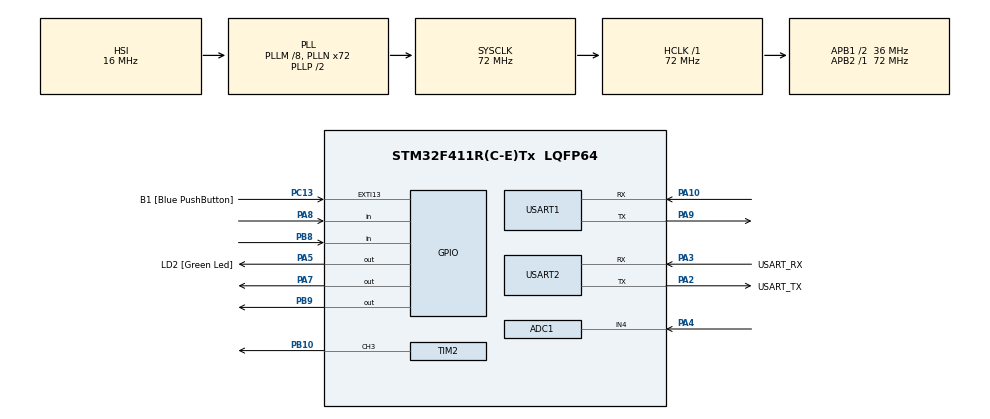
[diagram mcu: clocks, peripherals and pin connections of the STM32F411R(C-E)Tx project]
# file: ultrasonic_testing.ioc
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ADC1.Channel-0\#ChannelRegularConversion=ADC_CHANNEL_4
ADC1.NbrOfConversionFlag=1
ADC1.Rank-0\#ChannelRegularConversion=1
ADC1.SamplingTime-0\#ChannelRegularConversion=ADC_SAMPLETIME_3CYCLES
ADC1.master=1
Mcu.Family=STM32F4
Mcu.Name=STM32F411R(C-E)Tx
Mcu.Package=LQFP64
NVIC.ADC_IRQn=true\:0\:0\:false\:false\:true\:true\:true\:true
NVIC.PriorityGroup=NVIC_PRIORITYGROUP_0
PA10.Mode=Asynchronous
PA10.Signal=USART1_RX
PA13.GPIO_Label=TMS
PA13.Mode=Serial_Wire
PA13.Signal=SYS_JTMS-SWDIO
PA14.GPIO_Label=TCK
PA14.Mode=Serial_Wire
PA14.Signal=SYS_JTCK-SWCLK
PA2.GPIO_Label=USART_TX
PA2.Mode=Asynchronous
PA2.Signal=USART2_TX
PA3.GPIO_Label=USART_RX
PA3.Mode=Asynchronous
PA3.Signal=USART2_RX
PA4.Signal=ADCx_IN4
PA5.GPIO_Label=LD2 [Green Led]
PA5.Signal=GPIO_Output
PA7.Signal=GPIO_Output
PA8.GPIO_PuPd=GPIO_NOPULL
PA8.Signal=GPIO_Input
PA9.Mode=Asynchronous
PA9.Signal=USART1_TX
PB10.Signal=S_TIM2_CH3
PB3.GPIO_Label=SWO
PB3.Signal=SYS_JTDO-SWO
PB8.Signal=GPIO_Input
PB9.Signal=GPIO_Output
PC13-ANTI_TAMP.GPIO_Label=B1 [Blue PushButton]
PC13-ANTI_TAMP.GPIO_ModeDefaultEXTI=GPIO_MODE_IT_FALLING
PC13-ANTI_TAMP.Signal=GPXTI13
PC14-OSC32_IN.Mode=LSE-External-Oscillator
PC14-OSC32_IN.Signal=RCC_OSC32_IN
PC15-OSC32_OUT.Mode=LSE-External-Oscillator
PC15-OSC32_OUT.Signal=RCC_OSC32_OUT
PH0\ -\ OSC_IN.Mode=HSE-External-Clock-Source
PH0\ -\ OSC_IN.Signal=RCC_OSC_IN
PH1\ -\ OSC_OUT.Mode=HSE-External-Clock-Source
PH1\ -\ OSC_OUT.Signal=RCC_OSC_OUT
ProjectManager.HeapSize=0x200
ProjectManager.StackSize=0x400
ProjectManager.TargetToolchain=STM32CubeIDE
RCC.48MHZClocksFreq_Value=36000000
RCC.AHBFreq_Value=72000000
RCC.APB1CLKDivider=RCC_HCLK_DIV2
RCC.APB1Freq_Value=36000000
RCC.APB1TimFreq_Value=72000000
RCC.APB2Freq_Value=72000000
RCC.APB2TimFreq_Value=72000000
RCC.CortexFreq_Value=72000000
RCC.FLatency-AdvancedSettings=FLASH_LATENCY_2
RCC.HCLKFreq_Value=72000000
RCC.HSE_VALUE=8000000
RCC.HSI_VALUE=16000000
RCC.PLLM=8
RCC.PLLN=72
RCC.SYSCLKFreq_VALUE=72000000
RCC.SYSCLKSource=RCC_SYSCLKSOURCE_PLLCLK
RCC.VCOOutputFreq_Value=144000000
SH.ADCx_IN4.0=ADC1_IN4,IN4
SH.S_TIM2_CH3.0=TIM2_CH3,PWM Generation3 CH3
TIM1.Period=65535
TIM1.Prescaler=71
TIM2.Channel-PWM\ Generation3\ CH3=TIM_CHANNEL_3
TIM2.Period=65535
TIM2.Prescaler=71
USART1.VirtualMode=VM_ASYNC
USART2.VirtualMode=VM_ASYNC
VP_TIM1_VS_ClockSourceINT.Mode=Internal
board=NUCLEO-F411RE

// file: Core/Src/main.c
/* USER CODE BEGIN Header */
/**
  ******************************************************************************
  * @file           : main.c
  * @brief          : Main program body
  ******************************************************************************
  * @attention
  *
  * Copyright (c) 2025 STMicroelectronics.
  * All rights reserved.
  *
  * This software is licensed under terms that can be found in the LICENSE file
  * in the root directory of this software component.
  * If no LICENSE file comes with this software, it is provided AS-IS.
  *
  ******************************************************************************
  */
/* USER CODE END Header */
#include "main.h"

/* USER CODE BEGIN PD */
#define TRIG_PIN GPIO_PIN_7
#define ECHO_PIN GPIO_PIN_8
#define LED_PIN GPIO_PIN_5

#define DT_PIN GPIO_PIN_8
#define DT_PORT GPIOB
#define SCK_PIN GPIO_PIN_9
#define SCK_PORT GPIOB

#define SENSOR_GPIO_PORT    GPIOA
#define SENSOR_GPIO_PIN     GPIO_PIN_4
#define ADC_CHANNEL_TO_READ ADC_CHANNEL_4

#define ADC_MIN_LEVEL 3000
#define ADC_MAX_LEVEL 4000

#define SERVO_OPEN_ANGLE 180
#define SERVO_CLOSE_ANGLE 0
uint8_t isOpen = 0;
uint32_t openTime;

extern TIM_HandleTypeDef htim1;  // TIM1 handle created by CubeMX
extern TIM_HandleTypeDef htim2;  // TIM1 handle created by CubeMX

// Map angle (0–180) to pulse width (1000–2000 us)
void Servo_Write(uint8_t angle)
{
    if (angle > 180) angle = 180;

    uint16_t pulse = 1000 + (angle * 1000 / 180);  // 1000–2000 us
    __HAL_TIM_SET_COMPARE(&htim2, TIM_CHANNEL_3, pulse);
}

/* USER CODE END PD */

ADC_HandleTypeDef hadc1;

TIM_HandleTypeDef htim1;
TIM_HandleTypeDef htim2;

UART_HandleTypeDef huart1;
UART_HandleTypeDef huart2;

/* USER CODE BEGIN PV */
uint32_t duration = 0;
uint32_t distance = 0;
char uartBuf[50];

float calibration_factor = 1098.3f;

int32_t tare = 0;
float knownOriginal = 1;
float knownHX711 = 1;
int weight;
int percent_level;
uint8_t rx_byte;
uint8_t feed_trigger;
/* USER CODE END PV */

void SystemClock_Config(void);
static void MX_GPIO_Init(void);
static void MX_USART2_UART_Init(void);
static void MX_TIM1_Init(void);
static void MX_ADC1_Init(void);
static void MX_TIM2_Init(void);
static void MX_USART1_UART_Init(void);

/* USER CODE BEGIN 0 */
void delay_us(uint16_t us){
	__HAL_TIM_SET_COUNTER(&htim1, 0);
	while (__HAL_TIM_GET_COUNTER(&htim1) < us);
}

int32_t getHX711(void){
	uint32_t data = 0;
	uint32_t startTime = HAL_GetTick();
	while(HAL_GPIO_ReadPin(DT_PORT,DT_PIN) == GPIO_PIN_SET){
		if(HAL_GetTick() - startTime > 200){
			return 0;
		}
	}
	for(int8_t len = 0; len < 24; len++){
		HAL_GPIO_WritePin(SCK_PORT, SCK_PIN,GPIO_PIN_SET);
		delay_us(1);
		data = data << 1;
		HAL_GPIO_WritePin(SCK_PORT, SCK_PIN,GPIO_PIN_RESET);
		delay_us(1);
		if(HAL_GPIO_ReadPin(DT_PORT, DT_PIN) == GPIO_PIN_SET){
			data++;
		}
	}
	HAL_GPIO_WritePin(SCK_PORT,SCK_PIN,GPIO_PIN_SET);
	delay_us(1);
	HAL_GPIO_WritePin(SCK_PORT,SCK_PIN,GPIO_PIN_RESET);
	delay_us(1);

	if (data & 0x800000) {
	      data |= 0xFF000000;
	  }

	return (int32_t)data;
}

void calibrate_tare(void) {
    int32_t total = 0;
    // Take 10 readings
    for(int i = 0; i < 10; i++) {
        total += getHX711();
        HAL_Delay(10);
    }
    // Set the average as the new "Zero" point
    tare = total / 10;
}

int weigh(){
	int32_t total = 0;
	int32_t samples = 10;
	float coefficient;
	for(uint16_t i =0; i<samples; i++){
		total += getHX711();
	}
	int32_t average = total / samples;
	coefficient = knownOriginal / knownHX711;

	int32_t raw_diff = (int32_t)average - (int32_t)tare;

	if (raw_diff < 0) {
	        return 0;
	}

	float grams = (average - tare) / calibration_factor;

	return (int)grams;
}

int Water_Level(uint16_t value) {
    char tx_buffer[50]; // Increased buffer size for safety
    int len;
    int32_t current_adc = (int32_t)value; // Use signed integer for subtraction safety
    int32_t percent_level;

    // 1. Calculate the total range (P = V_max - V_min)
    const int32_t total_range = ADC_MAX_LEVEL - ADC_MIN_LEVEL;

    // Safety check to prevent division by zero and ensure a valid range
    if (total_range <= 0) {
        // If range is invalid, just report 0% or an error
        percent_level = 0;
    } else {
        // 2. Calculate the difference from the minimum (V_current - V_min)
        int32_t numerator = current_adc - ADC_MIN_LEVEL;

        // 3. Clamp the numerator (ensure value is not below V_min or above V_max)
        if (numerator < 0) {
            numerator = 0; // Below V_min means 0%
        } else if (numerator > total_range) {
            numerator = total_range; // Above V_max means 100%
        }

        // 4. Calculate Percentage: (Numerator / Total_Range) * 100
        // We use integer math for this simple function: (N * 100) / D
        percent_level = (numerator * 100) / total_range;
    }

    // Use snprintf to format the data into a string
    len = snprintf(tx_buffer, sizeof(tx_buffer), "Level: %ld percent\r\n", percent_level);

    // Transmit the string
//    HAL_UART_Transmit(&huart2, (uint8_t*)tx_buffer, len, 1000);
    return (int) percent_level;
}

int loop_adc_read(void) {
    uint32_t total_reading = 0;
    const uint8_t num_samples = 10; // Take 10 samples

    for (int i = 0; i < num_samples; i++) {
        // 1. Start ADC Conversion
        HAL_ADC_Start(&hadc1);

        // 2. Wait for the conversion to complete
        if (HAL_ADC_PollForConversion(&hadc1, 100) == HAL_OK) {
            // 3. Get the digital value
            total_reading += HAL_ADC_GetValue(&hadc1);
        }
        // Small delay between samples is optional but can help
        HAL_Delay(5);
    }

    // Calculate the average
    uint16_t average_reading = (uint16_t)(total_reading / num_samples);

    // 4. Send the calculated percentage value
    int32_t percent_level = Water_Level(average_reading);

    return (int) percent_level;
    // 5. Short delay before the next set of readings
    // The total delay here is already (5ms * 10 samples) + 100ms = 150ms.
    // HAL_Delay(100); // Removing the extra delay as the loop already has a delay.
}

void Run_Manual_Feed(void){
  if(isOpen == 0){
	  Servo_Write(SERVO_OPEN_ANGLE);
	  openTime = HAL_GetTick();
	  char log[50];
	  int len = snprintf(log, sizeof(log),"m\r\n");
	  HAL_UART_Transmit(&huart2, (uint8_t*)log, (uint16_t)len, 1000);
	  HAL_UART_Transmit(&huart1, (uint8_t*)log, (uint16_t)len, 1000);
	  isOpen = 1;
  }
  else{
	  if(HAL_GetTick() - openTime > 200){
		  Servo_Write(SERVO_CLOSE_ANGLE);
		  isOpen = 0;
	  }
  }
}
/* USER CODE END 0 */

int main(void)
{

  /* MCU Configuration--------------------------------------------------------*/

  /* Reset of all peripherals, Initializes the Flash interface and the Systick. */
  HAL_Init();

  /* Configure the system clock */
  SystemClock_Config();

  /* Initialize all configured peripherals */
  MX_GPIO_Init();
  MX_USART2_UART_Init();
  MX_TIM1_Init();
  MX_ADC1_Init();
  MX_TIM2_Init();
  MX_USART1_UART_Init();
  /* USER CODE BEGIN 2 */
  HAL_TIM_Base_Start(&htim1);
  HAL_TIM_PWM_Start(&htim2, TIM_CHANNEL_3);
  Servo_Write(SERVO_CLOSE_ANGLE);

  HAL_GPIO_WritePin(SCK_PORT, SCK_PIN, GPIO_PIN_SET);
  HAL_Delay(10);
  HAL_GPIO_WritePin(SCK_PORT, SCK_PIN, GPIO_PIN_RESET);
  HAL_Delay(10);

  HAL_Delay(500);
  calibrate_tare();
  HAL_UART_Receive_IT(&huart1,&rx_byte,1);

  /* USER CODE END 2 */

  /* Infinite loop */
  while (1)
  {

    /* USER CODE BEGIN 3 */
	  HAL_GPIO_WritePin(GPIOA, TRIG_PIN, GPIO_PIN_RESET);
	  delay_us(2);
	  HAL_GPIO_WritePin(GPIOA, TRIG_PIN, GPIO_PIN_SET);
	  delay_us(10);
	  HAL_GPIO_WritePin(GPIOA, TRIG_PIN, GPIO_PIN_RESET);

//	  while (HAL_GPIO_ReadPin(GPIOA, ECHO_PIN) == GPIO_PIN_RESET);
//
//	  __HAL_TIM_SET_COUNTER(&htim1, 0);
//
//	  while (HAL_GPIO_ReadPin(GPIOA, ECHO_PIN) == GPIO_PIN_SET);
//
//	  duration = __HAL_TIM_GET_COUNTER(&htim1);
//
//	  distance = duration / 58;

	  uint32_t pMillis = HAL_GetTick(); // Get current time
	        uint8_t sensor_ok = 1;            // Flag to track if sensor is working

	        // WAIT FOR ECHO START (Timeout: 5ms)
	        // If the sensor is unplugged, this loop will break after 5ms
	        while (HAL_GPIO_ReadPin(GPIOA, ECHO_PIN) == GPIO_PIN_RESET) {
	            if (HAL_GetTick() - pMillis > 5) {
	                sensor_ok = 0;
	                break;
	            }
	        }

	        if (sensor_ok) {
	            __HAL_TIM_SET_COUNTER(&htim1, 0); // Reset Timer
	            pMillis = HAL_GetTick();          // Reset Timeout Counter

	            // WAIT FOR ECHO END (Timeout: 50ms - max range approx 8m)
	            while (HAL_GPIO_ReadPin(GPIOA, ECHO_PIN) == GPIO_PIN_SET) {
	                if (HAL_GetTick() - pMillis > 50) {
	                    sensor_ok = 0;
	                    break;
	                }
	            }
	        }

	        if (sensor_ok) {
	            duration = __HAL_TIM_GET_COUNTER(&htim1);
	            distance = duration / 58;
	        } else {
	            // If unplugged or error, set distance to 0 (or a safe value like 999)
	            distance = 0;
	        }

//	  if (distance <= 40) {
//		  HAL_GPIO_WritePin(GPIOA, LED_PIN, GPIO_PIN_SET);
//		  sprintf(uartBuf, "Distance: %lu cm\r\n", distance);
//		  HAL_UART_Transmit(&huart2, (uint8_t*)uartBuf, strlen(uartBuf), 100);
//	  } else {
//		  HAL_GPIO_WritePin(GPIOA, LED_PIN, GPIO_PIN_RESET);
//	  }

	  weight = weigh();

	  //if(weight > 5){
//		  char buffer[50];
//
//		  sprintf(buffer, "Weight: %d grams\r\n", weight);
//
//		  HAL_UART_Transmit(&huart2, (uint8_t*)buffer, strlen(buffer),100);

	  //}

	  if((weight > 0 && weight < 20) && distance < 10){
		  if(isOpen == 0){
			  Servo_Write(SERVO_OPEN_ANGLE);
			  openTime = HAL_GetTick();
			  char log[50];
			  int len = snprintf(log, sizeof(log),"a\r\n");
			  HAL_UART_Transmit(&huart2, (uint8_t*)log, (uint16_t)len, 1000);
			  HAL_UART_Transmit(&huart1, (uint8_t*)log, (uint16_t)len, 1000);
			  isOpen = 1;
		  }
		  else{
			  if(HAL_GetTick() - openTime > 200){
				  Servo_Write(SERVO_CLOSE_ANGLE);
				  isOpen = 0;
			  }
		  }
	  }else if(isOpen == 1){
		  Servo_Write(SERVO_CLOSE_ANGLE);
		  isOpen = 0;
	  }

	  percent_level = loop_adc_read();

	  HAL_Delay(1000);
	  char combined_buffer[50];
	  int len = snprintf(combined_buffer, sizeof(combined_buffer),
						 "d:%d,%d,%d\r\n",
						 (int)distance,
						 (int)weight,
						 (int)percent_level);

	  HAL_UART_Transmit(&huart2, (uint8_t*)combined_buffer, (uint16_t)len, 1000);
	  HAL_UART_Transmit(&huart1, (uint8_t*)combined_buffer, (uint16_t)len, 1000);
	  if (feed_trigger == 1) {
		  Run_Manual_Feed(); // Call your function
		  feed_trigger = 0;  // Reset flag
	  }
//	  char test = 'T';
//	  int len = 10;
//	  HAL_UART_Transmit(&huart2, (uint8_t*)&test, (uint16_t)len, 1000);
//	  HAL_UART_Transmit(&huart1, (uint8_t*)&test, (uint16_t)len, 1000);
//	  HAL_Delay(1000);
//	  HAL_UART_Transmit(&huart2, (uint8_t*)distance, len, 1000);

  }
  /* USER CODE END 3 */
}

void SystemClock_Config(void)
{
  RCC_OscInitTypeDef RCC_OscInitStruct = {0};
  RCC_ClkInitTypeDef RCC_ClkInitStruct = {0};

  /** Configure the main internal regulator output voltage
  */
  __HAL_RCC_PWR_CLK_ENABLE();
  __HAL_PWR_VOLTAGESCALING_CONFIG(PWR_REGULATOR_VOLTAGE_SCALE1);

  /** Initializes the RCC Oscillators according to the specified parameters
  * in the RCC_OscInitTypeDef structure.
  */
  RCC_OscInitStruct.OscillatorType = RCC_OSCILLATORTYPE_HSI;
  RCC_OscInitStruct.HSIState = RCC_HSI_ON;
  RCC_OscInitStruct.HSICalibrationValue = RCC_HSICALIBRATION_DEFAULT;
  RCC_OscInitStruct.PLL.PLLState = RCC_PLL_ON;
  RCC_OscInitStruct.PLL.PLLSource = RCC_PLLSOURCE_HSI;
  RCC_OscInitStruct.PLL.PLLM = 8;
  RCC_OscInitStruct.PLL.PLLN = 72;
  RCC_OscInitStruct.PLL.PLLP = RCC_PLLP_DIV2;
  RCC_OscInitStruct.PLL.PLLQ = 4;
  if (HAL_RCC_OscConfig(&RCC_OscInitStruct) != HAL_OK)
  {
    Error_Handler();
  }

  /** Initializes the CPU, AHB and APB buses clocks
  */
  RCC_ClkInitStruct.ClockType = RCC_CLOCKTYPE_HCLK|RCC_CLOCKTYPE_SYSCLK
                              |RCC_CLOCKTYPE_PCLK1|RCC_CLOCKTYPE_PCLK2;
  RCC_ClkInitStruct.SYSCLKSource = RCC_SYSCLKSOURCE_PLLCLK;
  RCC_ClkInitStruct.AHBCLKDivider = RCC_SYSCLK_DIV1;
  RCC_ClkInitStruct.APB1CLKDivider = RCC_HCLK_DIV2;
  RCC_ClkInitStruct.APB2CLKDivider = RCC_HCLK_DIV1;

  if (HAL_RCC_ClockConfig(&RCC_ClkInitStruct, FLASH_LATENCY_2) != HAL_OK)
  {
    Error_Handler();
  }
}

static void MX_ADC1_Init(void)
{

  ADC_ChannelConfTypeDef sConfig = {0};

  /** Configure the global features of the ADC (Clock, Resolution, Data Alignment and number of conversion)
  */
  hadc1.Instance = ADC1;
  hadc1.Init.ClockPrescaler = ADC_CLOCK_SYNC_PCLK_DIV2;
  hadc1.Init.Resolution = ADC_RESOLUTION_12B;
  hadc1.Init.ScanConvMode = DISABLE;
  hadc1.Init.ContinuousConvMode = DISABLE;
  hadc1.Init.DiscontinuousConvMode = DISABLE;
  hadc1.Init.ExternalTrigConvEdge = ADC_EXTERNALTRIGCONVEDGE_NONE;
  hadc1.Init.ExternalTrigConv = ADC_SOFTWARE_START;
  hadc1.Init.DataAlign = ADC_DATAALIGN_RIGHT;
  hadc1.Init.NbrOfConversion = 1;
  hadc1.Init.DMAContinuousRequests = DISABLE;
  hadc1.Init.EOCSelection = ADC_EOC_SINGLE_CONV;
  if (HAL_ADC_Init(&hadc1) != HAL_OK)
  {
    Error_Handler();
  }

  /** Configure for the selected ADC regular channel its corresponding rank in the sequencer and its sample time.
  */
  sConfig.Channel = ADC_CHANNEL_4;
  sConfig.Rank = 1;
  sConfig.SamplingTime = ADC_SAMPLETIME_3CYCLES;
  if (HAL_ADC_ConfigChannel(&hadc1, &sConfig) != HAL_OK)
  {
    Error_Handler();
  }

}

static void MX_TIM1_Init(void)
{

  TIM_ClockConfigTypeDef sClockSourceConfig = {0};
  TIM_MasterConfigTypeDef sMasterConfig = {0};

  htim1.Instance = TIM1;
  htim1.Init.Prescaler = 71;
  htim1.Init.CounterMode = TIM_COUNTERMODE_UP;
  htim1.Init.Period = 65535;
  htim1.Init.ClockDivision = TIM_CLOCKDIVISION_DIV1;
  htim1.Init.RepetitionCounter = 0;
  htim1.Init.AutoReloadPreload = TIM_AUTORELOAD_PRELOAD_DISABLE;
  if (HAL_TIM_Base_Init(&htim1) != HAL_OK)
  {
    Error_Handler();
  }
  sClockSourceConfig.ClockSource = TIM_CLOCKSOURCE_INTERNAL;
  if (HAL_TIM_ConfigClockSource(&htim1, &sClockSourceConfig) != HAL_OK)
  {
    Error_Handler();
  }
  sMasterConfig.MasterOutputTrigger = TIM_TRGO_RESET;
  sMasterConfig.MasterSlaveMode = TIM_MASTERSLAVEMODE_DISABLE;
  if (HAL_TIMEx_MasterConfigSynchronization(&htim1, &sMasterConfig) != HAL_OK)
  {
    Error_Handler();
  }

}

static void MX_TIM2_Init(void)
{

  TIM_MasterConfigTypeDef sMasterConfig = {0};
  TIM_OC_InitTypeDef sConfigOC = {0};

  htim2.Instance = TIM2;
  htim2.Init.Prescaler = 71;
  htim2.Init.CounterMode = TIM_COUNTERMODE_UP;
  htim2.Init.Period = 65535;
  htim2.Init.ClockDivision = TIM_CLOCKDIVISION_DIV1;
  htim2.Init.AutoReloadPreload = TIM_AUTORELOAD_PRELOAD_DISABLE;
  if (HAL_TIM_PWM_Init(&htim2) != HAL_OK)
  {
    Error_Handler();
  }
  sMasterConfig.MasterOutputTrigger = TIM_TRGO_RESET;
  sMasterConfig.MasterSlaveMode = TIM_MASTERSLAVEMODE_DISABLE;
  if (HAL_TIMEx_MasterConfigSynchronization(&htim2, &sMasterConfig) != HAL_OK)
  {
    Error_Handler();
  }
  sConfigOC.OCMode = TIM_OCMODE_PWM1;
  sConfigOC.Pulse = 0;
  sConfigOC.OCPolarity = TIM_OCPOLARITY_HIGH;
  sConfigOC.OCFastMode = TIM_OCFAST_DISABLE;
  if (HAL_TIM_PWM_ConfigChannel(&htim2, &sConfigOC, TIM_CHANNEL_3) != HAL_OK)
  {
    Error_Handler();
  }
  HAL_TIM_MspPostInit(&htim2);

}

static void MX_USART1_UART_Init(void)
{

  huart1.Instance = USART1;
  huart1.Init.BaudRate = 115200;
  huart1.Init.WordLength = UART_WORDLENGTH_8B;
  huart1.Init.StopBits = UART_STOPBITS_1;
  huart1.Init.Parity = UART_PARITY_NONE;
  huart1.Init.Mode = UART_MODE_TX_RX;
  huart1.Init.HwFlowCtl = UART_HWCONTROL_NONE;
  huart1.Init.OverSampling = UART_OVERSAMPLING_16;
  if (HAL_UART_Init(&huart1) != HAL_OK)
  {
    Error_Handler();
  }

}

static void MX_USART2_UART_Init(void)
{

  huart2.Instance = USART2;
  huart2.Init.BaudRate = 115200;
  huart2.Init.WordLength = UART_WORDLENGTH_8B;
  huart2.Init.StopBits = UART_STOPBITS_1;
  huart2.Init.Parity = UART_PARITY_NONE;
  huart2.Init.Mode = UART_MODE_TX_RX;
  huart2.Init.HwFlowCtl = UART_HWCONTROL_NONE;
  huart2.Init.OverSampling = UART_OVERSAMPLING_16;
  if (HAL_UART_Init(&huart2) != HAL_OK)
  {
    Error_Handler();
  }

}

static void MX_GPIO_Init(void)
{
  GPIO_InitTypeDef GPIO_InitStruct = {0};

  /* GPIO Ports Clock Enable */
  __HAL_RCC_GPIOC_CLK_ENABLE();
  __HAL_RCC_GPIOH_CLK_ENABLE();
  __HAL_RCC_GPIOA_CLK_ENABLE();
  __HAL_RCC_GPIOB_CLK_ENABLE();

  /*Configure GPIO pin Output Level */
  HAL_GPIO_WritePin(GPIOA, LD2_Pin|GPIO_PIN_7, GPIO_PIN_RESET);

  /*Configure GPIO pin Output Level */
  HAL_GPIO_WritePin(GPIOB, GPIO_PIN_9, GPIO_PIN_RESET);

  /*Configure GPIO pin : B1_Pin */
  GPIO_InitStruct.Pin = B1_Pin;
  GPIO_InitStruct.Mode = GPIO_MODE_IT_FALLING;
  GPIO_InitStruct.Pull = GPIO_NOPULL;
  HAL_GPIO_Init(B1_GPIO_Port, &GPIO_InitStruct);

  /*Configure GPIO pins : LD2_Pin PA7 */
  GPIO_InitStruct.Pin = LD2_Pin|GPIO_PIN_7;
  GPIO_InitStruct.Mode = GPIO_MODE_OUTPUT_PP;
  GPIO_InitStruct.Pull = GPIO_NOPULL;
  GPIO_InitStruct.Speed = GPIO_SPEED_FREQ_LOW;
  HAL_GPIO_Init(GPIOA, &GPIO_InitStruct);

  /*Configure GPIO pin : PA8 */
  GPIO_InitStruct.Pin = GPIO_PIN_8;
  GPIO_InitStruct.Mode = GPIO_MODE_INPUT;
  GPIO_InitStruct.Pull = GPIO_NOPULL;
  HAL_GPIO_Init(GPIOA, &GPIO_InitStruct);

  /*Configure GPIO pin : PB8 */
  GPIO_InitStruct.Pin = GPIO_PIN_8;
  GPIO_InitStruct.Mode = GPIO_MODE_INPUT;
  GPIO_InitStruct.Pull = GPIO_NOPULL;
  HAL_GPIO_Init(GPIOB, &GPIO_InitStruct);

  /*Configure GPIO pin : PB9 */
  GPIO_InitStruct.Pin = GPIO_PIN_9;
  GPIO_InitStruct.Mode = GPIO_MODE_OUTPUT_PP;
  GPIO_InitStruct.Pull = GPIO_NOPULL;
  GPIO_InitStruct.Speed = GPIO_SPEED_FREQ_LOW;
  HAL_GPIO_Init(GPIOB, &GPIO_InitStruct);

}

/* USER CODE BEGIN 4 */
	void HAL_UART_RxCpltCallback(UART_HandleTypeDef *huart)
	{
	  if (huart->Instance == USART1) // Check if it's the ESP32 UART
	  {
		// Check if the received character is 'f'
		if (rx_byte == 'f') {
			feed_trigger = 1; // Set the flag, don't run motor here (keep interrupts short!)
		}

		// Restart the listening for the next byte
		HAL_UART_Receive_IT(&huart1, &rx_byte, 1);
	  }
	}
/* USER CODE END 4 */

void Error_Handler(void)
{
  __disable_irq();
  while (1)
  {
  }
}
